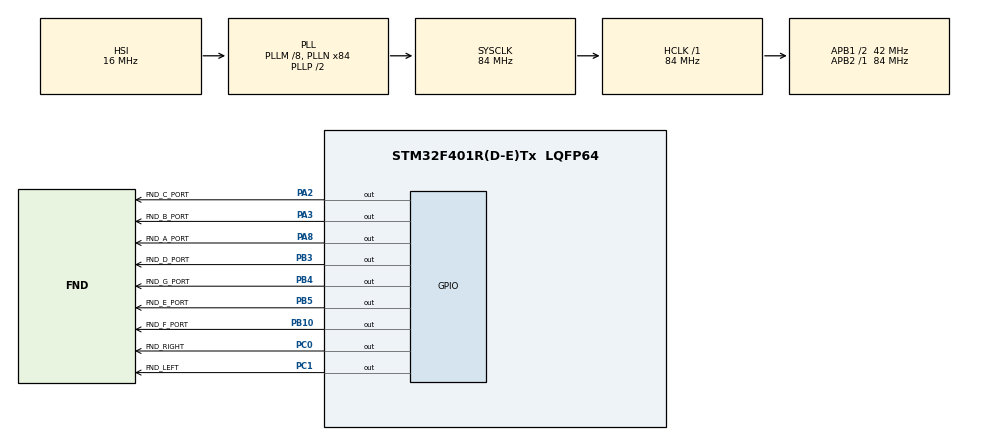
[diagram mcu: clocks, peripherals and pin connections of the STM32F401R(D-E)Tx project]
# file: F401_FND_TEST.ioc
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Mcu.Family=STM32F4
Mcu.Name=STM32F401R(D-E)Tx
Mcu.Package=LQFP64
NVIC.PriorityGroup=NVIC_PRIORITYGROUP_4
PA13.Mode=Serial_Wire
PA13.Signal=SYS_JTMS-SWDIO
PA14.Mode=Serial_Wire
PA14.Signal=SYS_JTCK-SWCLK
PA2.GPIO_Label=FND_C_PORT
PA2.GPIO_Speed=GPIO_SPEED_FREQ_LOW
PA2.PinState=GPIO_PIN_SET
PA2.Signal=GPIO_Output
PA3.GPIO_Label=FND_B_PORT
PA3.PinState=GPIO_PIN_SET
PA3.Signal=GPIO_Output
PA8.GPIO_Label=FND_A_PORT
PA8.PinState=GPIO_PIN_SET
PA8.Signal=GPIO_Output
PB10.GPIO_Label=FND_F_PORT
PB10.PinState=GPIO_PIN_SET
PB10.Signal=GPIO_Output
PB3.GPIO_Label=FND_D_PORT
PB3.PinState=GPIO_PIN_SET
PB3.Signal=GPIO_Output
PB4.GPIO_Label=FND_G_PORT
PB4.PinState=GPIO_PIN_SET
PB4.Signal=GPIO_Output
PB5.GPIO_Label=FND_E_PORT
PB5.PinState=GPIO_PIN_SET
PB5.Signal=GPIO_Output
PC0.GPIO_Label=FND_RIGHT
PC0.Signal=GPIO_Output
PC1.GPIO_Label=FND_LEFT
PC1.Signal=GPIO_Output
ProjectManager.HeapSize=0x200
ProjectManager.StackSize=0x400
ProjectManager.TargetToolchain=STM32CubeIDE
RCC.48MHZClocksFreq_Value=42000000
RCC.AHBFreq_Value=84000000
RCC.APB1CLKDivider=RCC_HCLK_DIV2
RCC.APB1Freq_Value=42000000
RCC.APB1TimFreq_Value=84000000
RCC.APB2Freq_Value=84000000
RCC.APB2TimFreq_Value=84000000
RCC.CortexFreq_Value=84000000
RCC.HCLKFreq_Value=84000000
RCC.HSE_VALUE=25000000
RCC.HSI_VALUE=16000000
RCC.LSE_VALUE=32768
RCC.PLLM=8
RCC.PLLN=84
RCC.SYSCLKFreq_VALUE=84000000
RCC.SYSCLKSource=RCC_SYSCLKSOURCE_PLLCLK
RCC.VCOOutputFreq_Value=168000000
board=custom

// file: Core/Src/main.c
/* USER CODE BEGIN Header */
/**
  ******************************************************************************
  * @file           : main.c
  * @brief          : Main program body
  ******************************************************************************
  * @attention
  *
  * <h2><center>&copy; Copyright (c) 2021 STMicroelectronics.
  * All rights reserved.</center></h2>
  *
  * This software component is licensed by ST under BSD 3-Clause license,
  * the "License"; You may not use this file except in compliance with the
  * License. You may obtain a copy of the License at:
  *                        opensource.org/licenses/BSD-3-Clause
  *
  ******************************************************************************
  */
/* USER CODE END Header */
#include "main.h"

void SystemClock_Config(void);
static void MX_GPIO_Init(void);

/* USER CODE BEGIN 0 */
#define	FND_COM_RIGHT_CLEAR		HAL_GPIO_WritePin(GPIOC, FND_RIGHT_Pin, GPIO_PIN_RESET); \
								HAL_GPIO_WritePin(GPIOC, FND_LEFT_Pin, GPIO_PIN_SET);

#define	FND_COM_LEFT_CLEAR		HAL_GPIO_WritePin(GPIOC, FND_LEFT_Pin, GPIO_PIN_RESET); \
								HAL_GPIO_WritePin(GPIOC, FND_RIGHT_Pin, GPIO_PIN_SET);

#define FND_SEG_NUM0_DISP	  HAL_GPIO_WritePin(GPIOA, FND_C_PORT_Pin|FND_B_PORT_Pin|FND_A_PORT_Pin, GPIO_PIN_RESET); \
						      HAL_GPIO_WritePin(GPIOB, FND_F_PORT_Pin|FND_D_PORT_Pin|FND_E_PORT_Pin, GPIO_PIN_RESET); \
							  HAL_GPIO_WritePin(GPIOB, FND_G_PORT_Pin, GPIO_PIN_SET);

#define FND_SEG_NUM1_DISP	  HAL_GPIO_WritePin(GPIOA, FND_B_PORT_Pin|FND_C_PORT_Pin, GPIO_PIN_RESET); \
							  HAL_GPIO_WritePin(GPIOA, FND_A_PORT_Pin, GPIO_PIN_SET); \
							  HAL_GPIO_WritePin(GPIOB, FND_F_PORT_Pin|FND_D_PORT_Pin|FND_G_PORT_Pin|FND_E_PORT_Pin, GPIO_PIN_SET);

#define FND_SEG_NUM2_DISP	  HAL_GPIO_WritePin(GPIOA, FND_B_PORT_Pin|FND_A_PORT_Pin, GPIO_PIN_RESET); \
						      HAL_GPIO_WritePin(GPIOB, FND_D_PORT_Pin|FND_G_PORT_Pin|FND_E_PORT_Pin, GPIO_PIN_RESET); \
						      HAL_GPIO_WritePin(GPIOA, FND_C_PORT_Pin, GPIO_PIN_SET); \
						      HAL_GPIO_WritePin(GPIOB, FND_F_PORT_Pin, GPIO_PIN_SET);

#define FND_SEG_NUM3_DISP	  HAL_GPIO_WritePin(GPIOA, FND_C_PORT_Pin|FND_B_PORT_Pin|FND_A_PORT_Pin, GPIO_PIN_RESET); \
						      HAL_GPIO_WritePin(GPIOB, FND_D_PORT_Pin|FND_G_PORT_Pin, GPIO_PIN_RESET); \
						      HAL_GPIO_WritePin(GPIOB, FND_F_PORT_Pin|FND_E_PORT_Pin, GPIO_PIN_SET);

#define FND_SEG_NUM4_DISP	  HAL_GPIO_WritePin(GPIOA, FND_C_PORT_Pin|FND_B_PORT_Pin, GPIO_PIN_RESET); \
						      HAL_GPIO_WritePin(GPIOB, FND_F_PORT_Pin|FND_G_PORT_Pin, GPIO_PIN_RESET); \
						      HAL_GPIO_WritePin(GPIOA, FND_A_PORT_Pin, GPIO_PIN_SET); \
						      HAL_GPIO_WritePin(GPIOB, FND_E_PORT_Pin|FND_D_PORT_Pin, GPIO_PIN_SET);

#define FND_SEG_NUM5_DISP	  HAL_GPIO_WritePin(GPIOA, FND_C_PORT_Pin|FND_A_PORT_Pin, GPIO_PIN_RESET); \
						      HAL_GPIO_WritePin(GPIOB, FND_F_PORT_Pin|FND_D_PORT_Pin|FND_G_PORT_Pin, GPIO_PIN_RESET); \
						      HAL_GPIO_WritePin(GPIOB, FND_E_PORT_Pin, GPIO_PIN_SET); \
						      HAL_GPIO_WritePin(GPIOA, FND_B_PORT_Pin, GPIO_PIN_SET);

#define FND_SEG_NUM6_DISP	  HAL_GPIO_WritePin(GPIOA, FND_C_PORT_Pin|FND_A_PORT_Pin, GPIO_PIN_RESET); \
						      HAL_GPIO_WritePin(GPIOB, FND_F_PORT_Pin|FND_D_PORT_Pin|FND_G_PORT_Pin|FND_E_PORT_Pin, GPIO_PIN_RESET); \
						      HAL_GPIO_WritePin(GPIOA, FND_B_PORT_Pin, GPIO_PIN_SET);

#define FND_SEG_NUM7_DISP	  HAL_GPIO_WritePin(GPIOA, FND_C_PORT_Pin|FND_B_PORT_Pin|FND_A_PORT_Pin, GPIO_PIN_RESET); \
						      HAL_GPIO_WritePin(GPIOB, FND_F_PORT_Pin, GPIO_PIN_RESET); \
						      HAL_GPIO_WritePin(GPIOB, FND_D_PORT_Pin|FND_G_PORT_Pin|FND_E_PORT_Pin, GPIO_PIN_SET); \

#define FND_SEG_NUM8_DISP	  HAL_GPIO_WritePin(GPIOA, FND_C_PORT_Pin|FND_B_PORT_Pin|FND_A_PORT_Pin, GPIO_PIN_RESET); \
						      HAL_GPIO_WritePin(GPIOB, FND_F_PORT_Pin|FND_D_PORT_Pin|FND_G_PORT_Pin|FND_E_PORT_Pin, GPIO_PIN_RESET);

#define FND_SEG_NUM9_DISP	  HAL_GPIO_WritePin(GPIOA, FND_C_PORT_Pin|FND_B_PORT_Pin|FND_A_PORT_Pin, GPIO_PIN_RESET); \
						      HAL_GPIO_WritePin(GPIOB, FND_F_PORT_Pin|FND_G_PORT_Pin|FND_D_PORT_Pin, GPIO_PIN_RESET); \
						      HAL_GPIO_WritePin(GPIOB, FND_E_PORT_Pin, GPIO_PIN_SET);
/* USER CODE END 0 */

int main(void)
{
  /* USER CODE BEGIN 1 */

unsigned char fnd_count = 0;
unsigned char disp10 = 0;
unsigned char disp1 = 0;
unsigned char roop = 0;
  /* USER CODE END 1 */

  /* MCU Configuration--------------------------------------------------------*/

  /* Reset of all peripherals, Initializes the Flash interface and the Systick. */
  HAL_Init();

  /* Configure the system clock */
  SystemClock_Config();

  /* Initialize all configured peripherals */
  MX_GPIO_Init();

  /* Infinite loop */
  while (1)
  {

    /* USER CODE BEGIN 3 */
	  for(fnd_count = 0; fnd_count <= 100; fnd_count++)
	  {
		  fnd_count = fnd_count%100;
		  disp10 = fnd_count / 10;
		  disp1 = fnd_count % 10;
		  for(roop = 0; roop < 100; roop++)
		  {
				  {
					  if(disp10 == 0)
					  {
						  FND_SEG_NUM0_DISP
					  }

					  else if(disp10 == 1)
					  {
						  FND_SEG_NUM1_DISP
					  }

					  else if(disp10 == 2)
					  {
						  FND_SEG_NUM2_DISP
					  }

					  else if(disp10 == 3)
					  {
						  FND_SEG_NUM3_DISP
					  }

					  else if(disp10 == 4)
					  {
						  FND_SEG_NUM4_DISP
					  }

					  else if(disp10 == 5)
					  {
						  FND_SEG_NUM5_DISP
					  }

					  else if(disp10 == 6)
					  {
						  FND_SEG_NUM6_DISP
					  }

					  else if(disp10 == 7)
					  {
						  FND_SEG_NUM7_DISP
					  }

					  else if(disp10 == 8)
					  {
						  FND_SEG_NUM8_DISP
					  }

					  else if(disp10 == 9)
					  {
						  FND_SEG_NUM9_DISP
					  }
					  HAL_Delay(5);
					  FND_COM_LEFT_CLEAR
				  }
				  {
					  if(disp1 == 0)
					  {
						  FND_SEG_NUM0_DISP
					  }

					  else if(disp1 == 1)
					  {
						  FND_SEG_NUM1_DISP
					  }

					  else if(disp1 == 2)
					  {
						  FND_SEG_NUM2_DISP
					  }

					  else if(disp1 == 3)
					  {
						  FND_SEG_NUM3_DISP
					  }

					  else if(disp1 == 4)
					  {
						  FND_SEG_NUM4_DISP
					  }

					  else if(disp1 == 5)
					  {
						  FND_SEG_NUM5_DISP
					  }

					  else if(disp1 == 6)
					  {
						  FND_SEG_NUM6_DISP
					  }

					  else if(disp1 == 7)
					  {
						  FND_SEG_NUM7_DISP
					  }

					  else if(disp1 == 8)
					  {
						  FND_SEG_NUM8_DISP
					  }

					  else if(disp1 == 9)
					  {
						  FND_SEG_NUM9_DISP
					  }
					  HAL_Delay(5);
					  FND_COM_RIGHT_CLEAR
				  }
		  }
	  }
   }
  /* USER CODE END 3 */
}

void SystemClock_Config(void)
{
  RCC_OscInitTypeDef RCC_OscInitStruct = {0};
  RCC_ClkInitTypeDef RCC_ClkInitStruct = {0};

  /** Configure the main internal regulator output voltage
  */
  __HAL_RCC_PWR_CLK_ENABLE();
  __HAL_PWR_VOLTAGESCALING_CONFIG(PWR_REGULATOR_VOLTAGE_SCALE2);
  /** Initializes the RCC Oscillators according to the specified parameters
  * in the RCC_OscInitTypeDef structure.
  */
  RCC_OscInitStruct.OscillatorType = RCC_OSCILLATORTYPE_HSI;
  RCC_OscInitStruct.HSIState = RCC_HSI_ON;
  RCC_OscInitStruct.HSICalibrationValue = RCC_HSICALIBRATION_DEFAULT;
  RCC_OscInitStruct.PLL.PLLState = RCC_PLL_ON;
  RCC_OscInitStruct.PLL.PLLSource = RCC_PLLSOURCE_HSI;
  RCC_OscInitStruct.PLL.PLLM = 8;
  RCC_OscInitStruct.PLL.PLLN = 84;
  RCC_OscInitStruct.PLL.PLLP = RCC_PLLP_DIV2;
  RCC_OscInitStruct.PLL.PLLQ = 4;
  if (HAL_RCC_OscConfig(&RCC_OscInitStruct) != HAL_OK)
  {
    Error_Handler();
  }
  /** Initializes the CPU, AHB and APB buses clocks
  */
  RCC_ClkInitStruct.ClockType = RCC_CLOCKTYPE_HCLK|RCC_CLOCKTYPE_SYSCLK
                              |RCC_CLOCKTYPE_PCLK1|RCC_CLOCKTYPE_PCLK2;
  RCC_ClkInitStruct.SYSCLKSource = RCC_SYSCLKSOURCE_PLLCLK;
  RCC_ClkInitStruct.AHBCLKDivider = RCC_SYSCLK_DIV1;
  RCC_ClkInitStruct.APB1CLKDivider = RCC_HCLK_DIV2;
  RCC_ClkInitStruct.APB2CLKDivider = RCC_HCLK_DIV1;

  if (HAL_RCC_ClockConfig(&RCC_ClkInitStruct, FLASH_LATENCY_2) != HAL_OK)
  {
    Error_Handler();
  }
}

static void MX_GPIO_Init(void)
{
  GPIO_InitTypeDef GPIO_InitStruct = {0};

  /* GPIO Ports Clock Enable */
  __HAL_RCC_GPIOC_CLK_ENABLE();
  __HAL_RCC_GPIOA_CLK_ENABLE();
  __HAL_RCC_GPIOB_CLK_ENABLE();

  /*Configure GPIO pin Output Level */
  HAL_GPIO_WritePin(GPIOC, FND_RIGHT_Pin|FND_LEFT_Pin, GPIO_PIN_RESET);

  /*Configure GPIO pin Output Level */
  HAL_GPIO_WritePin(GPIOA, FND_C_PORT_Pin|FND_B_PORT_Pin|FND_A_PORT_Pin, GPIO_PIN_SET);

  /*Configure GPIO pin Output Level */
  HAL_GPIO_WritePin(GPIOB, FND_F_PORT_Pin|FND_D_PORT_Pin|FND_G_PORT_Pin|FND_E_PORT_Pin, GPIO_PIN_SET);

  /*Configure GPIO pins : FND_RIGHT_Pin FND_LEFT_Pin */
  GPIO_InitStruct.Pin = FND_RIGHT_Pin|FND_LEFT_Pin;
  GPIO_InitStruct.Mode = GPIO_MODE_OUTPUT_PP;
  GPIO_InitStruct.Pull = GPIO_NOPULL;
  GPIO_InitStruct.Speed = GPIO_SPEED_FREQ_LOW;
  HAL_GPIO_Init(GPIOC, &GPIO_InitStruct);

  /*Configure GPIO pins : FND_C_PORT_Pin FND_B_PORT_Pin FND_A_PORT_Pin */
  GPIO_InitStruct.Pin = FND_C_PORT_Pin|FND_B_PORT_Pin|FND_A_PORT_Pin;
  GPIO_InitStruct.Mode = GPIO_MODE_OUTPUT_PP;
  GPIO_InitStruct.Pull = GPIO_NOPULL;
  GPIO_InitStruct.Speed = GPIO_SPEED_FREQ_LOW;
  HAL_GPIO_Init(GPIOA, &GPIO_InitStruct);

  /*Configure GPIO pins : FND_F_PORT_Pin FND_D_PORT_Pin FND_G_PORT_Pin FND_E_PORT_Pin */
  GPIO_InitStruct.Pin = FND_F_PORT_Pin|FND_D_PORT_Pin|FND_G_PORT_Pin|FND_E_PORT_Pin;
  GPIO_InitStruct.Mode = GPIO_MODE_OUTPUT_PP;
  GPIO_InitStruct.Pull = GPIO_NOPULL;
  GPIO_InitStruct.Speed = GPIO_SPEED_FREQ_LOW;
  HAL_GPIO_Init(GPIOB, &GPIO_InitStruct);

}

void Error_Handler(void)
{
  __disable_irq();
  while (1)
  {
  }
}

/************************ (C) COPYRIGHT STMicroelectronics *****END OF FILE****/
